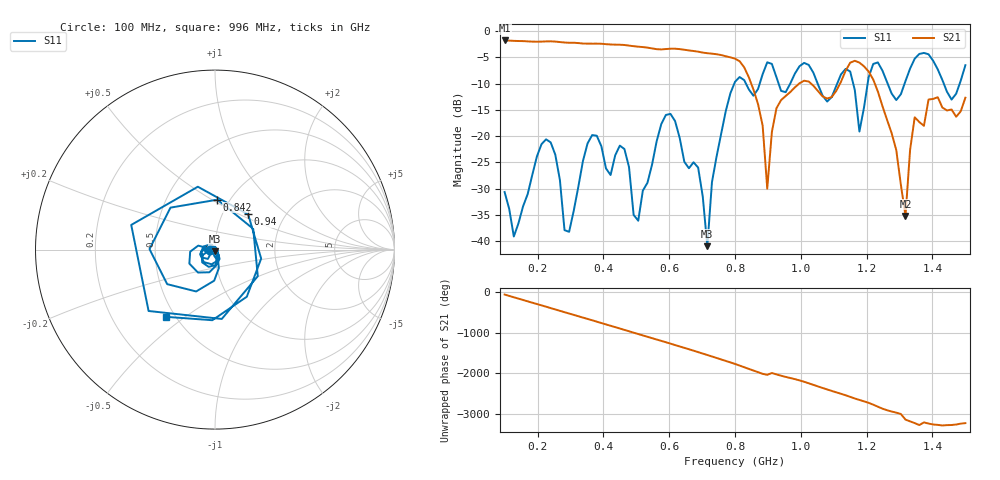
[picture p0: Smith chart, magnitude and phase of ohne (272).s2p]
! NanoVNA-App
! Date: 2025-09-25 14:22:55
! Start: 100MHz Stop: 1,5GHz Points: 101
! S-Parameter data: F S11 S21 S12 S22
# Hz S RI R 50
!  Frequency  S11_Real  S11_Imag  S21_Real  S21_Imag  S12_Real  S12_Imag  S22_Real  S22_Imag
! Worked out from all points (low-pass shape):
!   101 points, 100 MHz to 1.5 GHz, reference 50 ohm
!   highest |S21| = -1.79 dB at 100 MHz (marker M1); lowest = -35.2 dB at 1.318 GHz (marker M2)
!   |S21| within 3 dB of the highest: start of sweep to 771.7 MHz
!   lowest |S11| = -40.9 dB at 716 MHz (marker M3), VSWR 1.02, Z = 49.8 - j0.881 ohm
!   |S11| at or under -10 dB: start of sweep to 797.9 MHz; 833.2 MHz to 875.1 MHz (41.94 MHz wide, 4.91 % of centre); 1.051 GHz to 1.111 GHz (59.45 MHz wide, 5.5 % of centre) (the widest 3 of 7)
!   S12 and S22 are empty: the file has one direction only
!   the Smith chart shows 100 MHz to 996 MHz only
!   S11 on the Smith chart (normalised r, x): 100 MHz: 0.94, -0.01; 842 MHz: 0.88, +0.53; 940 MHz: 1.32, +0.56; 996 MHz: 0.45, -0.43
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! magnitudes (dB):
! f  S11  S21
! 100 MHz  -30.6  -1.8
! 128 MHz  -39.1  -1.9
! 226 MHz  -20.6  -2.0
! 296 MHz  -38.2  -2.2
! 338 MHz  -24.7  -2.4
! 464 MHz  -22.5  -2.7
! 506 MHz  -36.1  -3.0
! 576 MHz  -17.7  -3.5
! 688 MHz  -26.0  -3.9
! 716 MHz  -40.9  -4.2
! 800 MHz  -9.7  -5.3
! 842 MHz  -11.1  -8.8
! 898 MHz  -6.0  -30.0
! 940 MHz  -11.4  -13.1
! 996 MHz  -6.7  -9.9
! 1.038 GHz  -7.9  -10.4
! 1.178 GHz  -19.1  -6.0
! 1.22 GHz  -6.3  -9.2
! 1.276 GHz  -11.9  -19.4
! 1.318 GHz  -9.5  -35.2
! 1.346 GHz  -5.3  -16.4
! 1.5 GHz  -6.5  -12.7
